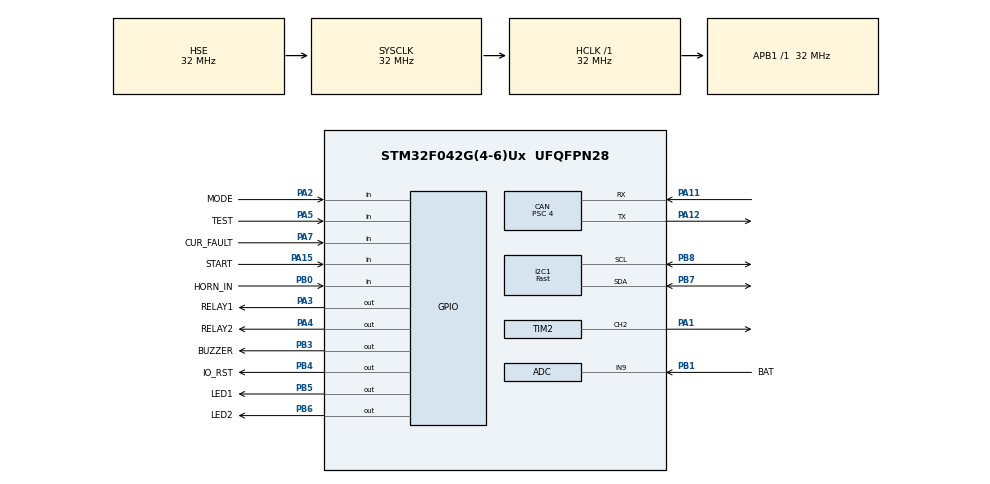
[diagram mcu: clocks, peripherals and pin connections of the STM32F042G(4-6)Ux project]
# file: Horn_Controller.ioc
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ADC.ContinuousConvMode=ENABLE
ADC.DMAContinuousRequests=DISABLE
CAN.ABOM=DISABLE
CAN.AWUM=DISABLE
CAN.BS1=CAN_BS1_4TQ
CAN.BS2=CAN_BS2_3TQ
CAN.CalculateBaudRate=1000000
CAN.CalculateTimeBit=1000
CAN.CalculateTimeQuantum=125.0
CAN.Mode=CAN_MODE_LOOPBACK
CAN.NART=DISABLE
CAN.Prescaler=4
CAN.RFLM=DISABLE
CAN.SJW=CAN_SJW_2TQ
CAN.TTCM=DISABLE
CAN.TXFP=DISABLE
Dma.Request0=TIM2_CH2
Dma.TIM2_CH2.0.Direction=DMA_MEMORY_TO_PERIPH
Dma.TIM2_CH2.0.Instance=DMA1_Channel3
Dma.TIM2_CH2.0.MemDataAlignment=DMA_MDATAALIGN_BYTE
Dma.TIM2_CH2.0.MemInc=DMA_MINC_ENABLE
Dma.TIM2_CH2.0.Mode=DMA_NORMAL
Dma.TIM2_CH2.0.PeriphDataAlignment=DMA_PDATAALIGN_WORD
Dma.TIM2_CH2.0.PeriphInc=DMA_PINC_DISABLE
Dma.TIM2_CH2.0.Priority=DMA_PRIORITY_LOW
I2C1.I2C_Speed_Mode=I2C_Fast
I2C1.Timing=0x0000020B
Mcu.Family=STM32F0
Mcu.Name=STM32F042G(4-6)Ux
Mcu.Package=UFQFPN28
NVIC.DMA1_Channel2_3_IRQn=true\:0\:0\:false\:false\:true\:false\:true\:true
NVIC.TIM2_IRQn=true\:0\:0\:false\:false\:true\:true\:true\:true
PA1.Signal=S_TIM2_CH2
PA11.GPIO_PuPd=GPIO_NOPULL
PA11.Mode=CAN_Activate
PA11.Signal=CAN_RX
PA12.Mode=CAN_Activate
PA12.Signal=CAN_TX
PA13.Mode=Serial_Wire
PA13.Signal=SYS_SWDIO
PA14.Mode=Serial_Wire
PA14.Signal=SYS_SWCLK
PA15.GPIO_Label=START
PA15.Signal=GPIO_Input
PA2.GPIO_Label=MODE
PA2.Signal=GPIO_Input
PA3.GPIO_Label=RELAY1
PA3.GPIO_Speed=GPIO_SPEED_FREQ_HIGH
PA3.Signal=GPIO_Output
PA4.GPIO_Label=RELAY2
PA4.GPIO_Speed=GPIO_SPEED_FREQ_HIGH
PA4.Signal=GPIO_Output
PA5.GPIO_Label=TEST
PA5.GPIO_PuPd=GPIO_PULLUP
PA5.Signal=GPIO_Input
PA6.GPIO_Label=CUR
PA6.Signal=ADC_IN6
PA7.GPIO_Label=CUR_FAULT
PA7.Signal=GPIO_Input
PB0.GPIO_Label=HORN_IN
PB0.Signal=GPIO_Input
PB1.GPIO_Label=BAT
PB1.Mode=IN9
PB1.Signal=ADC_IN9
PB3.GPIO_Label=BUZZER
PB3.GPIO_Speed=GPIO_SPEED_FREQ_HIGH
PB3.Signal=GPIO_Output
PB4.GPIO_Label=IO_RST
PB4.PinState=GPIO_PIN_SET
PB4.Signal=GPIO_Output
PB5.GPIO_Label=LED1
PB5.Signal=GPIO_Output
PB6.GPIO_Label=LED2
PB6.Signal=GPIO_Output
PB7.Mode=I2C
PB7.Signal=I2C1_SDA
PB8.Mode=I2C
PB8.Signal=I2C1_SCL
PF0-OSC_IN.Mode=HSE-External-Oscillator
PF0-OSC_IN.Signal=RCC_OSC_IN
PF1-OSC_OUT.Mode=HSE-External-Oscillator
PF1-OSC_OUT.Signal=RCC_OSC_OUT
ProjectManager.HeapSize=0x200
ProjectManager.StackSize=0x400
ProjectManager.TargetToolchain=STM32CubeIDE
RCC.AHBFreq_Value=32000000
RCC.APB1Freq_Value=32000000
RCC.APB1TimFreq_Value=32000000
RCC.HCLKFreq_Value=32000000
RCC.HSE_VALUE=32000000
RCC.PLLSourceVirtual=RCC_PLLSOURCE_HSE
RCC.RTCClockSelection=RCC_RTCCLKSOURCE_HSE_DIV32
RCC.SYSCLKFreq_VALUE=32000000
RCC.SYSCLKSource=RCC_SYSCLKSOURCE_HSE
RTC.AsynchPrediv=99
RTC.SynchPrediv=9999
SH.S_TIM2_CH2.0=TIM2_CH2,PWM Generation2 CH2
TIM2.Channel-PWM\ Generation2\ CH2=TIM_CHANNEL_2
TIM2.Period=39
TIM2.Prescaler=0
TIM2.Pulse-PWM\ Generation2\ CH2=0
VP_RTC_VS_RTC_Activate.Mode=RTC_Enabled
VP_SYS_VS_PINREMAP.Mode=PINREMAP
VP_TIM2_VS_ClockSourceINT.Mode=Internal
board=custom

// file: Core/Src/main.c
/* USER CODE BEGIN Header */
/**
  ******************************************************************************
  * @file           : main.c
  * @brief          : Main program body
  ******************************************************************************
  * @attention
  *
  * Copyright (c) 2024 STMicroelectronics.
  * All rights reserved.
  *
  * This software is licensed under terms that can be found in the LICENSE file
  * in the root directory of this software component.
  * If no LICENSE file comes with this software, it is provided AS-IS.
  *
  ******************************************************************************
  */
/* USER CODE END Header */
#include "main.h"

/* USER CODE BEGIN Includes */
#include "TCA6424.h"
#include "Display.h"
#include "WS2812.h"
/* USER CODE END Includes */

ADC_HandleTypeDef hadc;

CAN_HandleTypeDef hcan;

I2C_HandleTypeDef hi2c1;

RTC_HandleTypeDef hrtc;

TIM_HandleTypeDef htim2;
DMA_HandleTypeDef hdma_tim2_ch2;

/* USER CODE BEGIN PV */

TCA6424 IOExpander;
Display display;
WS2812 rgbLeds;
uint8_t buf[WS2812_BUF_LEN];
/* USER CODE END PV */

void SystemClock_Config(void);
static void MX_GPIO_Init(void);
static void MX_DMA_Init(void);
static void MX_ADC_Init(void);
static void MX_CAN_Init(void);
static void MX_I2C1_Init(void);
static void MX_RTC_Init(void);
static void MX_TIM2_Init(void);

/* USER CODE BEGIN 0 */
void HAL_TIM_PWM_PulseFinishedCallback(TIM_HandleTypeDef *htim){
	//HAL_TIM_PWM_Stop_DMA(&htim2, TIM_CHANNEL_2);
	WS2812_StopDMA(&rgbLeds);
}
/* USER CODE END 0 */

int main(void)
{

  /* MCU Configuration--------------------------------------------------------*/

  /* Reset of all peripherals, Initializes the Flash interface and the Systick. */
  HAL_Init();

  /* Configure the system clock */
  SystemClock_Config();

  /* Initialize all configured peripherals */
  MX_GPIO_Init();
  MX_DMA_Init();
  MX_ADC_Init();
  MX_CAN_Init();
  MX_I2C1_Init();
  MX_RTC_Init();
  MX_TIM2_Init();
  /* USER CODE BEGIN 2 */
  WS2812_Init(&rgbLeds, &htim2, TIM_CHANNEL_2);
  TCA6424_Init(&IOExpander, &hi2c1, GPIOB, IO_RST_Pin);
  TCA6424_SetAsOutputs(&IOExpander);

  display.IOHandle = &IOExpander;

  WS2812_Reset_Buf(buf);
  WS2812_Write_Buf(buf, 0, 0, 0, 0);
  WS2812_Write_Buf(buf, 0, 0, 0, 1);
  WS2812_Write_Buf(buf, 0, 0, 0, 2);
  WS2812_Send(&rgbLeds, buf);

  /* USER CODE END 2 */

  /* Infinite loop */
  while (1)
  {

    /* USER CODE BEGIN 3 */

	 Display_SetDigits(&display, 5, 4, 3, 0b100);
	 HAL_Delay(1);
	 Display_SetDigits(&display, 5, 4, 3, 0b010);
	 HAL_Delay(1);
	 Display_SetDigits(&display, 5, 4, 3, 0b001);
	 HAL_Delay(1);
  }
  /* USER CODE END 3 */
}

void SystemClock_Config(void)
{
  RCC_OscInitTypeDef RCC_OscInitStruct = {0};
  RCC_ClkInitTypeDef RCC_ClkInitStruct = {0};
  RCC_PeriphCLKInitTypeDef PeriphClkInit = {0};

  /** Initializes the RCC Oscillators according to the specified parameters
  * in the RCC_OscInitTypeDef structure.
  */
  RCC_OscInitStruct.OscillatorType = RCC_OSCILLATORTYPE_HSI|RCC_OSCILLATORTYPE_HSI14
                              |RCC_OSCILLATORTYPE_HSE;
  RCC_OscInitStruct.HSEState = RCC_HSE_ON;
  RCC_OscInitStruct.HSIState = RCC_HSI_ON;
  RCC_OscInitStruct.HSI14State = RCC_HSI14_ON;
  RCC_OscInitStruct.HSICalibrationValue = RCC_HSICALIBRATION_DEFAULT;
  RCC_OscInitStruct.HSI14CalibrationValue = 16;
  RCC_OscInitStruct.PLL.PLLState = RCC_PLL_NONE;
  if (HAL_RCC_OscConfig(&RCC_OscInitStruct) != HAL_OK)
  {
    Error_Handler();
  }

  /** Initializes the CPU, AHB and APB buses clocks
  */
  RCC_ClkInitStruct.ClockType = RCC_CLOCKTYPE_HCLK|RCC_CLOCKTYPE_SYSCLK
                              |RCC_CLOCKTYPE_PCLK1;
  RCC_ClkInitStruct.SYSCLKSource = RCC_SYSCLKSOURCE_HSE;
  RCC_ClkInitStruct.AHBCLKDivider = RCC_SYSCLK_DIV1;
  RCC_ClkInitStruct.APB1CLKDivider = RCC_HCLK_DIV1;

  if (HAL_RCC_ClockConfig(&RCC_ClkInitStruct, FLASH_LATENCY_1) != HAL_OK)
  {
    Error_Handler();
  }
  PeriphClkInit.PeriphClockSelection = RCC_PERIPHCLK_I2C1|RCC_PERIPHCLK_RTC;
  PeriphClkInit.I2c1ClockSelection = RCC_I2C1CLKSOURCE_HSI;
  PeriphClkInit.RTCClockSelection = RCC_RTCCLKSOURCE_HSE_DIV32;
  if (HAL_RCCEx_PeriphCLKConfig(&PeriphClkInit) != HAL_OK)
  {
    Error_Handler();
  }
}

static void MX_ADC_Init(void)
{

  ADC_ChannelConfTypeDef sConfig = {0};

  /** Configure the global features of the ADC (Clock, Resolution, Data Alignment and number of conversion)
  */
  hadc.Instance = ADC1;
  hadc.Init.ClockPrescaler = ADC_CLOCK_ASYNC_DIV1;
  hadc.Init.Resolution = ADC_RESOLUTION_12B;
  hadc.Init.DataAlign = ADC_DATAALIGN_RIGHT;
  hadc.Init.ScanConvMode = ADC_SCAN_DIRECTION_FORWARD;
  hadc.Init.EOCSelection = ADC_EOC_SINGLE_CONV;
  hadc.Init.LowPowerAutoWait = DISABLE;
  hadc.Init.LowPowerAutoPowerOff = DISABLE;
  hadc.Init.ContinuousConvMode = ENABLE;
  hadc.Init.DiscontinuousConvMode = DISABLE;
  hadc.Init.ExternalTrigConv = ADC_SOFTWARE_START;
  hadc.Init.ExternalTrigConvEdge = ADC_EXTERNALTRIGCONVEDGE_NONE;
  hadc.Init.DMAContinuousRequests = DISABLE;
  hadc.Init.Overrun = ADC_OVR_DATA_PRESERVED;
  if (HAL_ADC_Init(&hadc) != HAL_OK)
  {
    Error_Handler();
  }

  /** Configure for the selected ADC regular channel to be converted.
  */
  sConfig.Channel = ADC_CHANNEL_9;
  sConfig.Rank = ADC_RANK_CHANNEL_NUMBER;
  sConfig.SamplingTime = ADC_SAMPLETIME_1CYCLE_5;
  if (HAL_ADC_ConfigChannel(&hadc, &sConfig) != HAL_OK)
  {
    Error_Handler();
  }

}

static void MX_CAN_Init(void)
{

  hcan.Instance = CAN;
  hcan.Init.Prescaler = 4;
  hcan.Init.Mode = CAN_MODE_LOOPBACK;
  hcan.Init.SyncJumpWidth = CAN_SJW_2TQ;
  hcan.Init.TimeSeg1 = CAN_BS1_4TQ;
  hcan.Init.TimeSeg2 = CAN_BS2_3TQ;
  hcan.Init.TimeTriggeredMode = DISABLE;
  hcan.Init.AutoBusOff = DISABLE;
  hcan.Init.AutoWakeUp = DISABLE;
  hcan.Init.AutoRetransmission = DISABLE;
  hcan.Init.ReceiveFifoLocked = DISABLE;
  hcan.Init.TransmitFifoPriority = DISABLE;
  if (HAL_CAN_Init(&hcan) != HAL_OK)
  {
    Error_Handler();
  }

}

static void MX_I2C1_Init(void)
{

  hi2c1.Instance = I2C1;
  hi2c1.Init.Timing = 0x0000020B;
  hi2c1.Init.OwnAddress1 = 0;
  hi2c1.Init.AddressingMode = I2C_ADDRESSINGMODE_7BIT;
  hi2c1.Init.DualAddressMode = I2C_DUALADDRESS_DISABLE;
  hi2c1.Init.OwnAddress2 = 0;
  hi2c1.Init.OwnAddress2Masks = I2C_OA2_NOMASK;
  hi2c1.Init.GeneralCallMode = I2C_GENERALCALL_DISABLE;
  hi2c1.Init.NoStretchMode = I2C_NOSTRETCH_DISABLE;
  if (HAL_I2C_Init(&hi2c1) != HAL_OK)
  {
    Error_Handler();
  }

  /** Configure Analogue filter
  */
  if (HAL_I2CEx_ConfigAnalogFilter(&hi2c1, I2C_ANALOGFILTER_ENABLE) != HAL_OK)
  {
    Error_Handler();
  }

  /** Configure Digital filter
  */
  if (HAL_I2CEx_ConfigDigitalFilter(&hi2c1, 0) != HAL_OK)
  {
    Error_Handler();
  }

}

static void MX_RTC_Init(void)
{

  /** Initialize RTC Only
  */
  hrtc.Instance = RTC;
  hrtc.Init.HourFormat = RTC_HOURFORMAT_24;
  hrtc.Init.AsynchPrediv = 99;
  hrtc.Init.SynchPrediv = 9999;
  hrtc.Init.OutPut = RTC_OUTPUT_DISABLE;
  hrtc.Init.OutPutPolarity = RTC_OUTPUT_POLARITY_HIGH;
  hrtc.Init.OutPutType = RTC_OUTPUT_TYPE_OPENDRAIN;
  if (HAL_RTC_Init(&hrtc) != HAL_OK)
  {
    Error_Handler();
  }

}

static void MX_TIM2_Init(void)
{

  TIM_ClockConfigTypeDef sClockSourceConfig = {0};
  TIM_MasterConfigTypeDef sMasterConfig = {0};
  TIM_OC_InitTypeDef sConfigOC = {0};

  htim2.Instance = TIM2;
  htim2.Init.Prescaler = 0;
  htim2.Init.CounterMode = TIM_COUNTERMODE_UP;
  htim2.Init.Period = 39;
  htim2.Init.ClockDivision = TIM_CLOCKDIVISION_DIV1;
  htim2.Init.AutoReloadPreload = TIM_AUTORELOAD_PRELOAD_DISABLE;
  if (HAL_TIM_Base_Init(&htim2) != HAL_OK)
  {
    Error_Handler();
  }
  sClockSourceConfig.ClockSource = TIM_CLOCKSOURCE_INTERNAL;
  if (HAL_TIM_ConfigClockSource(&htim2, &sClockSourceConfig) != HAL_OK)
  {
    Error_Handler();
  }
  if (HAL_TIM_PWM_Init(&htim2) != HAL_OK)
  {
    Error_Handler();
  }
  sMasterConfig.MasterOutputTrigger = TIM_TRGO_RESET;
  sMasterConfig.MasterSlaveMode = TIM_MASTERSLAVEMODE_DISABLE;
  if (HAL_TIMEx_MasterConfigSynchronization(&htim2, &sMasterConfig) != HAL_OK)
  {
    Error_Handler();
  }
  sConfigOC.OCMode = TIM_OCMODE_PWM1;
  sConfigOC.Pulse = 0;
  sConfigOC.OCPolarity = TIM_OCPOLARITY_HIGH;
  sConfigOC.OCFastMode = TIM_OCFAST_DISABLE;
  if (HAL_TIM_PWM_ConfigChannel(&htim2, &sConfigOC, TIM_CHANNEL_2) != HAL_OK)
  {
    Error_Handler();
  }
  HAL_TIM_MspPostInit(&htim2);

}

static void MX_DMA_Init(void)
{

  /* DMA controller clock enable */
  __HAL_RCC_DMA1_CLK_ENABLE();

  /* DMA interrupt init */
  /* DMA1_Channel2_3_IRQn interrupt configuration */
  HAL_NVIC_SetPriority(DMA1_Channel2_3_IRQn, 0, 0);
  HAL_NVIC_EnableIRQ(DMA1_Channel2_3_IRQn);

}

static void MX_GPIO_Init(void)
{
  GPIO_InitTypeDef GPIO_InitStruct = {0};

  /* GPIO Ports Clock Enable */
  __HAL_RCC_GPIOB_CLK_ENABLE();
  __HAL_RCC_GPIOF_CLK_ENABLE();
  __HAL_RCC_GPIOA_CLK_ENABLE();

  /*Configure GPIO pin Output Level */
  HAL_GPIO_WritePin(GPIOA, RELAY1_Pin|RELAY2_Pin, GPIO_PIN_RESET);

  /*Configure GPIO pin Output Level */
  HAL_GPIO_WritePin(GPIOB, BUZZER_Pin|LED1_Pin|LED2_Pin, GPIO_PIN_RESET);

  /*Configure GPIO pin Output Level */
  HAL_GPIO_WritePin(IO_RST_GPIO_Port, IO_RST_Pin, GPIO_PIN_SET);

  /*Configure GPIO pins : MODE_Pin CUR_FAULT_Pin START_Pin */
  GPIO_InitStruct.Pin = MODE_Pin|CUR_FAULT_Pin|START_Pin;
  GPIO_InitStruct.Mode = GPIO_MODE_INPUT;
  GPIO_InitStruct.Pull = GPIO_NOPULL;
  HAL_GPIO_Init(GPIOA, &GPIO_InitStruct);

  /*Configure GPIO pins : RELAY1_Pin RELAY2_Pin */
  GPIO_InitStruct.Pin = RELAY1_Pin|RELAY2_Pin;
  GPIO_InitStruct.Mode = GPIO_MODE_OUTPUT_PP;
  GPIO_InitStruct.Pull = GPIO_NOPULL;
  GPIO_InitStruct.Speed = GPIO_SPEED_FREQ_HIGH;
  HAL_GPIO_Init(GPIOA, &GPIO_InitStruct);

  /*Configure GPIO pin : TEST_Pin */
  GPIO_InitStruct.Pin = TEST_Pin;
  GPIO_InitStruct.Mode = GPIO_MODE_INPUT;
  GPIO_InitStruct.Pull = GPIO_PULLUP;
  HAL_GPIO_Init(TEST_GPIO_Port, &GPIO_InitStruct);

  /*Configure GPIO pin : HORN_IN_Pin */
  GPIO_InitStruct.Pin = HORN_IN_Pin;
  GPIO_InitStruct.Mode = GPIO_MODE_INPUT;
  GPIO_InitStruct.Pull = GPIO_NOPULL;
  HAL_GPIO_Init(HORN_IN_GPIO_Port, &GPIO_InitStruct);

  /*Configure GPIO pin : BUZZER_Pin */
  GPIO_InitStruct.Pin = BUZZER_Pin;
  GPIO_InitStruct.Mode = GPIO_MODE_OUTPUT_PP;
  GPIO_InitStruct.Pull = GPIO_NOPULL;
  GPIO_InitStruct.Speed = GPIO_SPEED_FREQ_HIGH;
  HAL_GPIO_Init(BUZZER_GPIO_Port, &GPIO_InitStruct);

  /*Configure GPIO pins : IO_RST_Pin LED1_Pin LED2_Pin */
  GPIO_InitStruct.Pin = IO_RST_Pin|LED1_Pin|LED2_Pin;
  GPIO_InitStruct.Mode = GPIO_MODE_OUTPUT_PP;
  GPIO_InitStruct.Pull = GPIO_NOPULL;
  GPIO_InitStruct.Speed = GPIO_SPEED_FREQ_LOW;
  HAL_GPIO_Init(GPIOB, &GPIO_InitStruct);

}

void Error_Handler(void)
{
  __disable_irq();
  while (1)
  {
  }
}
